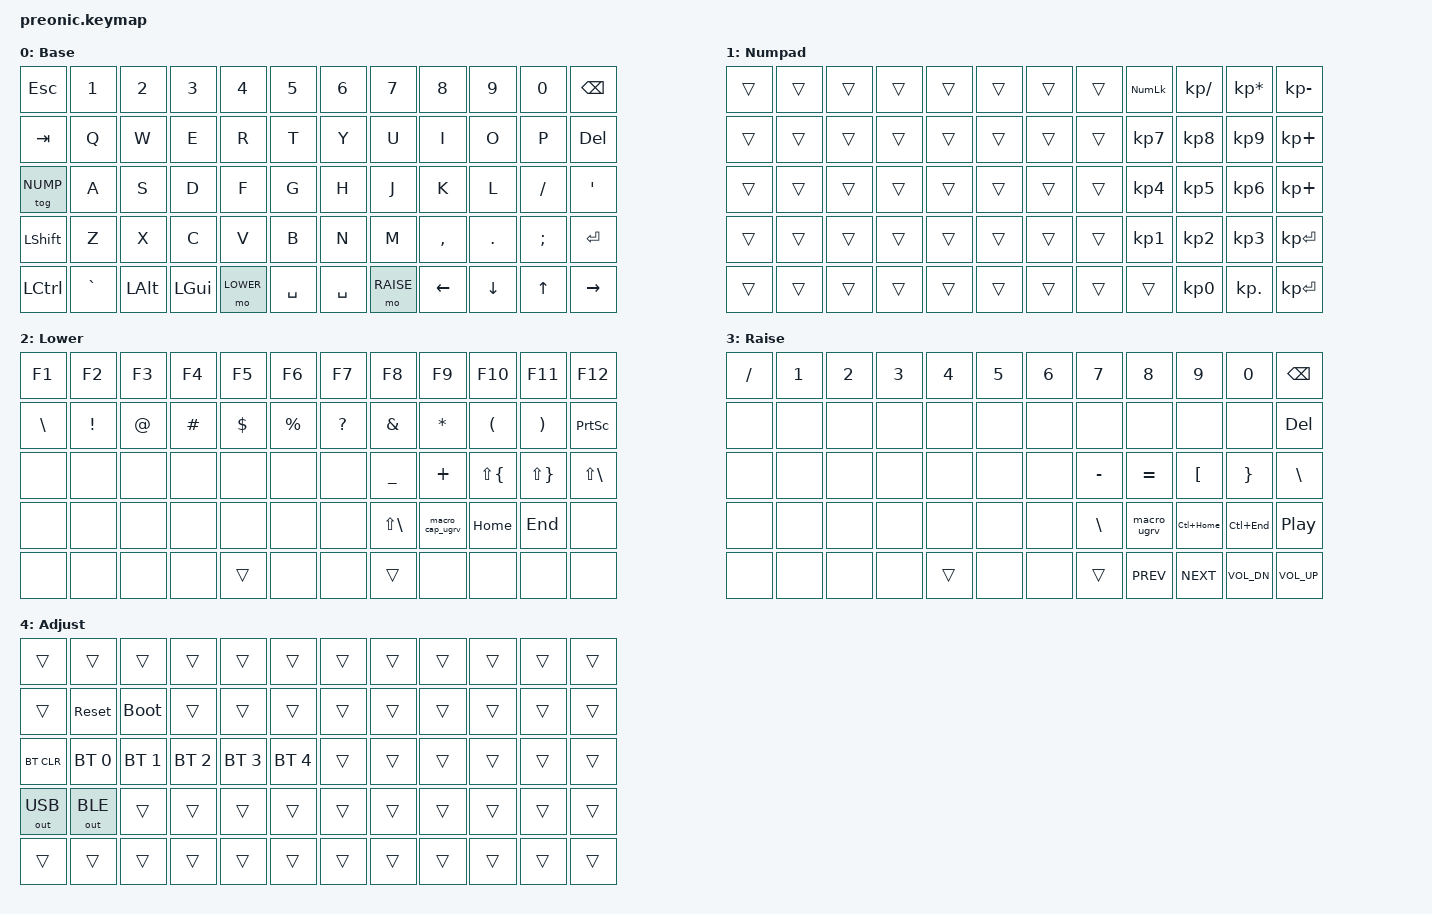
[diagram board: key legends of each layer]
/*
 * Copyright (c) 2024 The ZMK Contributors
 * SPDX-License-Identifier: MIT
 */

#include <behaviors.dtsi>
#include <dt-bindings/zmk/keys.h>
#include <dt-bindings/zmk/bt.h>
#include <dt-bindings/zmk/outputs.h>

// ============================================================================
// DÉFINITIONS DES TOUCHES - CANADIEN MULTILINGUE (CMS) via QWERTY US (Windows 11)
// ============================================================================
#define CA_EACU FSLH         // é (Touche '/' sur QWERTY US)
#define CA_EGRV QUOT         // è (Touche ''' sur QWERTY US)
#define CA_CCED RBRC         // ç (Touche ']' sur QWERTY US)
#define CA_AGRV BSLH         // à (Touche '\\' sur QWERTY US)
#define CA_UGRV RA(U)        // ù (Right Alt + '[')
#define CA_CIRC LBRC         // ^ (Touche morte '^' avec '[')

// Majuscules et caractères spéciaux
#define CA_CAP_EACU LS(FSLH)      // É
#define CA_CAP_EGRV LS(QUOT)      // È
#define CA_CAP_CCED LS(RBRC)      // Ç
#define CA_CAP_AGRV LS(BSLH)      // À
#define CA_CAP_UGRV LS(RA(U))     // Ù
#define CA_UML      LS(LBRC)      // ¨ (Touche morte '¨' avec Shift + '[')

#define BASE 0
#define NUMP 1
#define LOWER 2
#define RAISE 3
#define ADJUST 4

/ {
    conditional_layers {
        compatible = "zmk,conditional-layers";
        tri_layer {
            if-layers = <LOWER RAISE>;
            then-layer = <ADJUST>;
        };
    };

    macros {
        // Macro pour ù (Accent grave AltGr + [ puis u)
        macro_ugrv: macro_ugrv {
            compatible = "zmk,behavior-macro";
            #binding-cells = <0>;
            bindings = <&kp RA(LBKT) &kp U>;
        };

        // Macro pour Ù (Accent grave AltGr + [ puis Shift + U)
        macro_cap_ugrv: macro_cap_ugrv {
            compatible = "zmk,behavior-macro";
            #binding-cells = <0>;
            bindings = <&kp RA(LBKT) &kp LS(U)>;
        };
    };


    keymap {
        compatible = "zmk,keymap";

        default_layer {
            display-name = "Base";
            bindings = <
&kp ESC    &kp N1     &kp N2     &kp N3     &kp N4     &kp N5     &kp N6     &kp N7     &kp N8     &kp N9     &kp N0     &kp BSPC
&kp TAB    &kp Q      &kp W      &kp E      &kp R      &kp T      &kp Y      &kp U      &kp I      &kp O      &kp P      &kp DEL
&tog NUMP  &kp A      &kp S      &kp D      &kp F      &kp G      &kp H      &kp J      &kp K      &kp L      &kp CA_EACU &kp CA_EGRV
&kp LSHFT  &kp Z      &kp X      &kp C      &kp V      &kp B      &kp N      &kp M      &kp COMMA  &kp DOT    &kp SEMI   &kp RET
&kp LCTRL  &kp GRAVE   &kp LALT   &kp LGUI   &mo LOWER  &kp SPACE  &kp SPACE  &mo RAISE  &kp LEFT   &kp DOWN   &kp UP     &kp RIGHT
            >;
        };

        numpad_layer {
            display-name = "Numpad";
            bindings = <
&trans     &trans     &trans     &trans     &trans     &trans     &trans     &trans     &kp KP_NUM &kp KP_DIVIDE &kp KP_MULTIPLY &kp KP_MINUS
&trans     &trans     &trans     &trans     &trans     &trans     &trans     &trans     &kp KP_N7  &kp KP_N8     &kp KP_N9       &kp KP_PLUS
&trans     &trans     &trans     &trans     &trans     &trans     &trans     &trans     &kp KP_N4  &kp KP_N5     &kp KP_N6       &kp KP_PLUS
&trans     &trans     &trans     &trans     &trans     &trans     &trans     &trans     &kp KP_N1  &kp KP_N2     &kp KP_N3       &kp KP_ENTER
&trans     &trans     &trans     &trans     &trans     &trans     &trans     &trans     &trans     &kp KP_N0     &kp KP_DOT      &kp KP_ENTER
            >;
        };

        lower_layer {
            display-name = "Lower";
            bindings = <
&kp F1     &kp F2     &kp F3     &kp F4     &kp F5     &kp F6     &kp F7     &kp F8     &kp F9     &kp F10    &kp F11    &kp F12
&kp BSLH   &kp EXCL   &kp AT     &kp HASH   &kp DLLR   &kp PRCNT  &kp QMARK  &kp AMPS   &kp STAR   &kp LPAR   &kp RPAR   &kp PSCRN
&none      &none      &none      &none      &none      &none      &none      &kp UNDER  &kp PLUS   &kp CA_UML &kp CA_CAP_CCED &kp CA_CAP_AGRV
&none      &none      &none      &none      &none      &none      &none      &kp CA_CAP_AGRV &macro_cap_ugrv &kp HOME &kp END &none
&none      &none      &none      &none      &trans     &none      &none      &trans     &none      &none      &none      &none
            >;
        };

        raise_layer {
            display-name = "Raise";
            bindings = <
&kp FSLH   &kp N1     &kp N2     &kp N3     &kp N4     &kp N5     &kp N6     &kp N7     &kp N8     &kp N9     &kp N0     &kp BSPC
&none      &none      &none      &none      &none      &none      &none      &none      &none      &none      &none      &kp DEL
&none      &none      &none      &none      &none      &none      &none      &kp MINUS  &kp EQUAL  &kp LBKT   &kp CA_CCED &kp CA_AGRV
&none      &none      &none      &none      &none      &none      &none      &kp CA_AGRV &macro_ugrv &kp LC(HOME) &kp LC(END) &kp C_PP
&none      &none      &none      &none      &trans     &none      &none      &trans     &kp C_PREV &kp C_NEXT &kp C_VOL_DN &kp C_VOL_UP
            >;
        };

        adjust_layer {
            display-name = "Adjust";
            bindings = <
&trans         &trans         &trans         &trans         &trans         &trans         &trans     &trans     &trans     &trans     &trans     &trans
&trans         &sys_reset     &bootloader    &trans         &trans         &trans         &trans     &trans     &trans     &trans     &trans     &trans
&bt BT_CLR     &bt BT_SEL 0   &bt BT_SEL 1   &bt BT_SEL 2   &bt BT_SEL 3   &bt BT_SEL 4   &trans     &trans     &trans     &trans     &trans     &trans
&out OUT_USB   &out OUT_BLE   &trans         &trans         &trans         &trans         &trans     &trans     &trans     &trans     &trans     &trans
&trans         &trans         &trans         &trans         &trans         &trans         &trans     &trans     &trans     &trans     &trans     &trans
            >;
        };
    };
};
